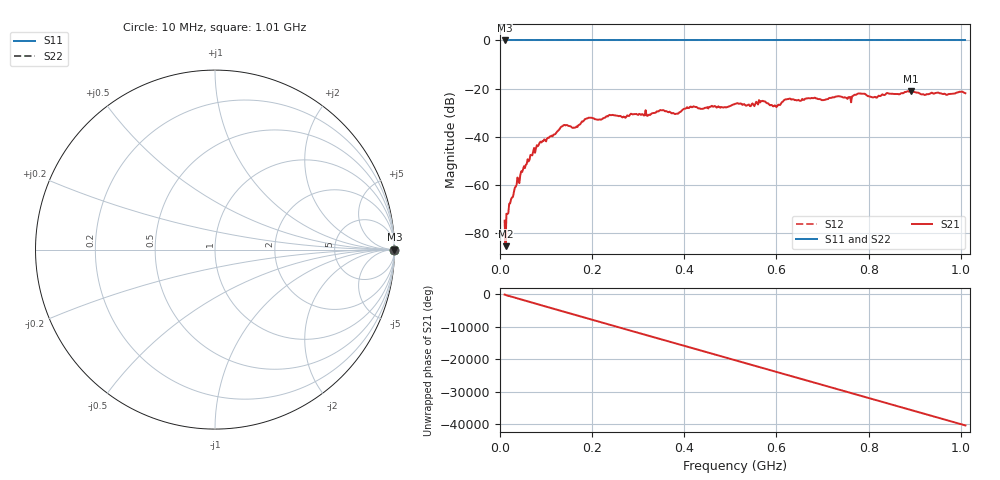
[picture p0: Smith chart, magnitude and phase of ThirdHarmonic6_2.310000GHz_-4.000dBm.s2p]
! 8/17/2025 3:11:55 AM
! C:\ANRITSUVNA\TEMP\TEMP.S2P
! CHANNEL.1
! TR.MEASUREMENT
! RAW.DATA
! RF.CORRECTION.OFF
! AVERAGING.OFF
! IF.BANDWIDTH: 5KHZ
! SWEEPTYPE:  FREQ.SWEEP(Linear)
! Reference Plane Port Info
! PORT:  PORT1  PORT2
! DISTANCE:  0  m  0  m
! TIME:  0  s  0  s
! PHASE.OFFSET:  0  deg.  0  deg.
! LOSS:  0  dB  0  dB
! REF.LOSS:  0  dB  0  dB
! REF.FREQ:  0  Hz  0  Hz
! Power Info
! POWER:  -20  dBm  -20  dBm
! EFF.POWER:  -20  dBm  -20  dBm
! SOURCE.ATTEN:  0  dB  0  dB
! TEST.ATTEN:  0  dB  0  dB
# GHZ S RI R 50.0
! FREQ.GHZ  S11RE  S11IM  S21RE  S21IM  S12RE  S12IM  S22RE  S22IM
!; PortSelection: Port_12
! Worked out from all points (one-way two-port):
!   501 points, 10 MHz to 1.01 GHz, reference 50 ohm
!   highest |S21| = -21.00 dB at 892 MHz (marker M1); lowest = -85.4 dB at 12 MHz (marker M2)
!   lowest |S11| = 0.0 dB at 10 MHz (marker M3)
!   |S11| at or under -10 dB: nowhere
!   |S22| runs from 0.0 to 0.0 dB; largest |S21 - S12| = 1.1
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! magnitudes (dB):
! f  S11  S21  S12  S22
! 10 MHz  0.0  -74.8  0.0  0.0
! 12 MHz  0.0  -85.4  0.0  0.0
! 36 MHz  0.0  -59.9  0.0  0.0
! 84 MHz  0.0  -43.4  0.0  0.0
! 136 MHz  0.0  -35.5  0.0  0.0
! 160 MHz  0.0  -36.2  0.0  0.0
! 178 MHz  0.0  -33.6  0.0  0.0
! 194 MHz  0.0  -32.0  0.0  0.0
! 322 MHz  0.0  -31.0  0.0  0.0
! 344 MHz  0.0  -29.5  0.0  0.0
! 382 MHz  0.0  -30.4  0.0  0.0
! 416 MHz  0.0  -27.7  0.0  0.0
! 510 MHz  0.0  -26.3  0.0  0.0
! 570 MHz  0.0  -25.0  0.0  0.0
! 596 MHz  0.0  -27.0  0.0  0.0
! 624 MHz  0.0  -24.3  0.0  0.0
! 678 MHz  0.0  -23.9  0.0  0.0
! 780 MHz  0.0  -22.0  0.0  0.0
! 814 MHz  0.0  -23.4  0.0  0.0
! 844 MHz  0.0  -22.1  0.0  0.0
! 892 MHz  0.0  -21.0  0.0  0.0
! 1.01 GHz  0.0  -21.9  0.0  0.0
